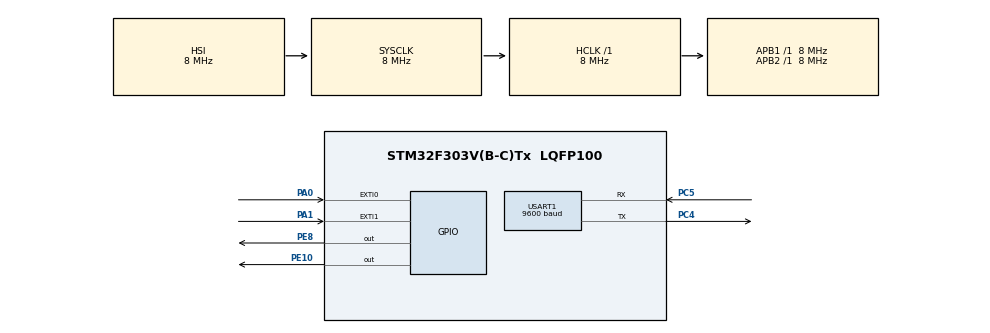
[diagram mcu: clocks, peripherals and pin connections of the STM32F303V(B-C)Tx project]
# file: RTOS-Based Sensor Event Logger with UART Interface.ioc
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FREERTOS.Tasks01=defaultTask,0,128,StartDefaultTask,Default,NULL,Dynamic,NULL,NULL;PE8,-2,128,LED1,Default,NULL,Dynamic,NULL,NULL;PE10,0,128,LED2,Default,NULL,Dynamic,NULL,NULL
Mcu.Family=STM32F3
Mcu.Name=STM32F303V(B-C)Tx
Mcu.Package=LQFP100
NVIC.EXTI0_IRQn=true\:5\:0\:false\:false\:true\:true\:true\:true\:true
NVIC.EXTI1_IRQn=true\:5\:0\:false\:false\:true\:true\:true\:true\:true
NVIC.PriorityGroup=NVIC_PRIORITYGROUP_4
PA0.GPIO_PuPd=GPIO_PULLDOWN
PA0.Signal=GPXTI0
PA1.GPIO_PuPd=GPIO_PULLDOWN
PA1.Signal=GPXTI1
PC4.Mode=Asynchronous
PC4.Signal=USART1_TX
PC5.Mode=Asynchronous
PC5.Signal=USART1_RX
PE10.Signal=GPIO_Output
PE8.Signal=GPIO_Output
ProjectManager.HeapSize=0x200
ProjectManager.StackSize=0x400
ProjectManager.TargetToolchain=STM32CubeIDE
RCC.AHBFreq_Value=8000000
RCC.APB1Freq_Value=8000000
RCC.APB2Freq_Value=8000000
RCC.CortexFreq_Value=8000000
RCC.HSE_VALUE=8000000
RCC.HSI_VALUE=8000000
RCC.LSE_VALUE=32768
RCC.SYSCLKFreq_VALUE=8000000
USART1.BaudRate=9600
USART1.TxPinLevelInvertParam=ADVFEATURE_TXINV_ENABLE
USART1.VirtualMode-Asynchronous=VM_ASYNC
VP_FREERTOS_VS_CMSIS_V1.Mode=CMSIS_V1
board=custom

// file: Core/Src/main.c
/* USER CODE BEGIN Header */
/**
  ******************************************************************************
  * @file           : main.c
  * @brief          : Main program body
  ******************************************************************************
  * @attention
  *
  * Copyright (c) 2026 STMicroelectronics.
  * All rights reserved.
  *
  * This software is licensed under terms that can be found in the LICENSE file
  * in the root directory of this software component.
  * If no LICENSE file comes with this software, it is provided AS-IS.
  *
  ******************************************************************************
  */
/* USER CODE END Header */
#include "main.h"
#include "cmsis_os.h"

/* USER CODE BEGIN PD */
	volatile uint8_t system_start = 0;
	volatile uint8_t ir_event = 0;
/* USER CODE END PD */

UART_HandleTypeDef huart1;

osThreadId defaultTaskHandle;
osThreadId PE8Handle;
osThreadId PE10Handle;

void SystemClock_Config(void);
static void MX_GPIO_Init(void);
static void MX_USART1_UART_Init(void);
void StartDefaultTask(void const * argument);
void LED1(void const * argument);
void LED2(void const * argument);

int main(void)
{

  /* MCU Configuration--------------------------------------------------------*/

  /* Reset of all peripherals, Initializes the Flash interface and the Systick. */
  HAL_Init();

  /* Configure the system clock */
  SystemClock_Config();

  /* Initialize all configured peripherals */
  MX_GPIO_Init();
  MX_USART1_UART_Init();

  /* Create the thread(s) */
  /* definition and creation of defaultTask */
  osThreadDef(defaultTask, StartDefaultTask, osPriorityNormal, 0, 128);
  defaultTaskHandle = osThreadCreate(osThread(defaultTask), NULL);

  /* definition and creation of PE8 */
  osThreadDef(PE8, LED1, osPriorityLow, 0, 128);
  PE8Handle = osThreadCreate(osThread(PE8), NULL);

  /* definition and creation of PE10 */
  osThreadDef(PE10, LED2, osPriorityNormal, 0, 128);
  PE10Handle = osThreadCreate(osThread(PE10), NULL);

  /* Start scheduler */
  osKernelStart();

  /* We should never get here as control is now taken by the scheduler */

  /* Infinite loop */
  while (1)
  {

  }
}

void SystemClock_Config(void)
{
  RCC_OscInitTypeDef RCC_OscInitStruct = {0};
  RCC_ClkInitTypeDef RCC_ClkInitStruct = {0};
  RCC_PeriphCLKInitTypeDef PeriphClkInit = {0};

  /** Initializes the RCC Oscillators according to the specified parameters
  * in the RCC_OscInitTypeDef structure.
  */
  RCC_OscInitStruct.OscillatorType = RCC_OSCILLATORTYPE_HSI;
  RCC_OscInitStruct.HSIState = RCC_HSI_ON;
  RCC_OscInitStruct.HSICalibrationValue = RCC_HSICALIBRATION_DEFAULT;
  RCC_OscInitStruct.PLL.PLLState = RCC_PLL_NONE;
  if (HAL_RCC_OscConfig(&RCC_OscInitStruct) != HAL_OK)
  {
    Error_Handler();
  }

  /** Initializes the CPU, AHB and APB buses clocks
  */
  RCC_ClkInitStruct.ClockType = RCC_CLOCKTYPE_HCLK|RCC_CLOCKTYPE_SYSCLK
                              |RCC_CLOCKTYPE_PCLK1|RCC_CLOCKTYPE_PCLK2;
  RCC_ClkInitStruct.SYSCLKSource = RCC_SYSCLKSOURCE_HSI;
  RCC_ClkInitStruct.AHBCLKDivider = RCC_SYSCLK_DIV1;
  RCC_ClkInitStruct.APB1CLKDivider = RCC_HCLK_DIV1;
  RCC_ClkInitStruct.APB2CLKDivider = RCC_HCLK_DIV1;

  if (HAL_RCC_ClockConfig(&RCC_ClkInitStruct, FLASH_LATENCY_0) != HAL_OK)
  {
    Error_Handler();
  }
  PeriphClkInit.PeriphClockSelection = RCC_PERIPHCLK_USART1;
  PeriphClkInit.Usart1ClockSelection = RCC_USART1CLKSOURCE_PCLK2;
  if (HAL_RCCEx_PeriphCLKConfig(&PeriphClkInit) != HAL_OK)
  {
    Error_Handler();
  }
}

static void MX_USART1_UART_Init(void)
{

  /* USER CODE BEGIN USART1_Init 0 */
    while(*msg)
    {
        while(!(USART1->ISR & (1<<7)));
        USART1->TDR = *msg++;
    }
  /* USER CODE END USART1_Init 0 */

  huart1.Instance = USART1;
  huart1.Init.BaudRate = 9600;
  huart1.Init.WordLength = UART_WORDLENGTH_8B;
  huart1.Init.StopBits = UART_STOPBITS_1;
  huart1.Init.Parity = UART_PARITY_NONE;
  huart1.Init.Mode = UART_MODE_TX_RX;
  huart1.Init.HwFlowCtl = UART_HWCONTROL_NONE;
  huart1.Init.OverSampling = UART_OVERSAMPLING_16;
  huart1.Init.OneBitSampling = UART_ONE_BIT_SAMPLE_DISABLE;
  huart1.AdvancedInit.AdvFeatureInit = UART_ADVFEATURE_TXINVERT_INIT;
  huart1.AdvancedInit.TxPinLevelInvert = UART_ADVFEATURE_TXINV_ENABLE;
  if (HAL_UART_Init(&huart1) != HAL_OK)
  {
    Error_Handler();
  }

}

static void MX_GPIO_Init(void)
{
  GPIO_InitTypeDef GPIO_InitStruct = {0};

  /* GPIO Ports Clock Enable */
  __HAL_RCC_GPIOA_CLK_ENABLE();
  __HAL_RCC_GPIOC_CLK_ENABLE();
  __HAL_RCC_GPIOE_CLK_ENABLE();

  /*Configure GPIO pin Output Level */
  HAL_GPIO_WritePin(GPIOE, GPIO_PIN_8|GPIO_PIN_10, GPIO_PIN_RESET);

  /*Configure GPIO pins : PA0 PA1 */
  GPIO_InitStruct.Pin = GPIO_PIN_0|GPIO_PIN_1;
  GPIO_InitStruct.Mode = GPIO_MODE_IT_RISING;
  GPIO_InitStruct.Pull = GPIO_PULLDOWN;
  HAL_GPIO_Init(GPIOA, &GPIO_InitStruct);

  /*Configure GPIO pins : PE8 PE10 */
  GPIO_InitStruct.Pin = GPIO_PIN_8|GPIO_PIN_10;
  GPIO_InitStruct.Mode = GPIO_MODE_OUTPUT_PP;
  GPIO_InitStruct.Pull = GPIO_NOPULL;
  GPIO_InitStruct.Speed = GPIO_SPEED_FREQ_LOW;
  HAL_GPIO_Init(GPIOE, &GPIO_InitStruct);

  /* EXTI interrupt init*/
  HAL_NVIC_SetPriority(EXTI0_IRQn, 5, 0);
  HAL_NVIC_EnableIRQ(EXTI0_IRQn);

  HAL_NVIC_SetPriority(EXTI1_IRQn, 5, 0);
  HAL_NVIC_EnableIRQ(EXTI1_IRQn);

}

void StartDefaultTask(void const * argument)
{
  for(;;)
  {
    osDelay(1);
  }
}

void LED1(void const * argument)
{
  /* USER CODE BEGIN LED1 */
  /* Infinite loop */
  for(;;)
  {
	  if(system_start)
	      {
	          GPIOE->ODR ^= (1 << 8);
	          osDelay(500);
	      }
	      else
	      {
	          osDelay(10);
	      }
  }
  /* USER CODE END LED1 */
}

void LED2(void const * argument)
{
  /* USER CODE BEGIN LED2 */
  /* Infinite loop */
  for(;;)
  {
	  if(ir_event)
	      {
		  msg = "DETECTED";
	          GPIOE->ODR |= (1 << 10);
	          osDelay(200);
	          GPIOE->ODR &= ~(1 << 10);

	          ir_event = 0;
	      }

    osDelay(10);
  }
  /* USER CODE END LED2 */
}

void Error_Handler(void)
{
  __disable_irq();
  while (1)
  {
  }
}
